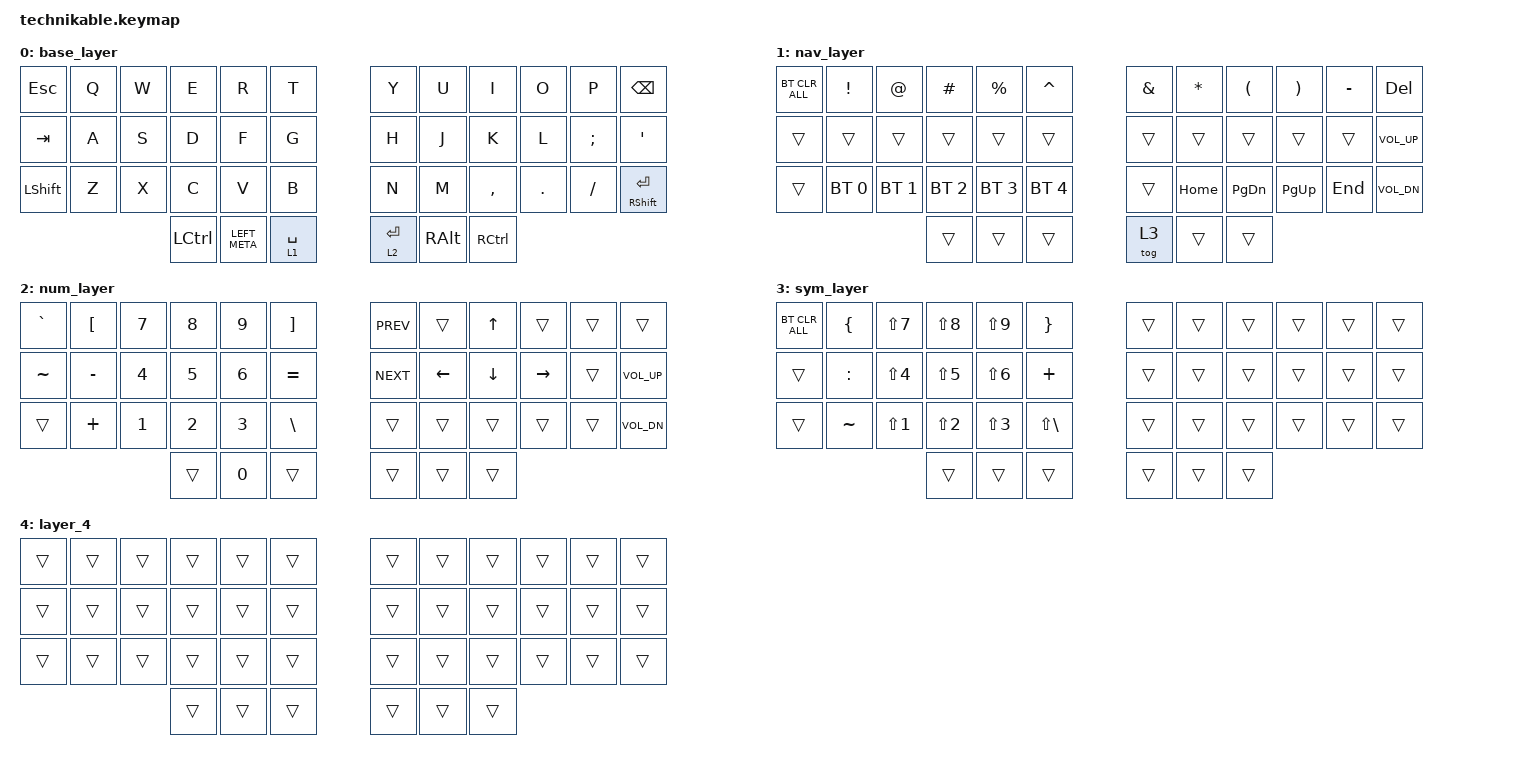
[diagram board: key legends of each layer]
/*
 * Copyright (c) 2022 Pete Johanson
 *
 * SPDX-License-Identifier: MIT
 */

#include <behaviors.dtsi>
#include <dt-bindings/zmk/bt.h>
#include <dt-bindings/zmk/keys.h>

#define BAS_L 0
#define NAV_L 1
#define NUM_L 2
#define SYM_L 3

// Using layer taps on thumbs, having quick tap as well helps w/ repeating space/backspace

&lt { quick_tap_ms = <200>; };

/ {
    chosen { zmk,matrix_transform = &dual_2u_transform; };

    conditional_layers {
        compatible = "zmk,conditional-layers";

        tri_layer {
            if-layers = <1 2>;
            then-layer = <3>;
        };
    };

    keymap {
        compatible = "zmk,keymap";

        base_layer {
            bindings = <
&kp ESC    &kp Q  &kp W      &kp E          &kp R        &kp T                &kp Y  &kp U     &kp I      &kp O    &kp P     &kp BACKSPACE
&kp TAB    &kp A  &kp S      &kp D          &kp F        &kp G                &kp H  &kp J     &kp K      &kp L    &kp SEMI  &kp SQT
&kp LSHFT  &kp Z  &kp X      &kp C          &kp V        &kp B                &kp N  &kp M     &kp COMMA  &kp DOT  &kp FSLH  &mt RIGHT_SHIFT ENTER
                  &kp LCTRL  &kp LEFT_META  &lt 1 SPACE         &lt 2 RETURN         &kp RALT  &kp RCTRL
            >;
        };

        nav_layer {
            bindings = <
&bt BT_CLR_ALL  &kp EXCL      &kp AT        &kp HASH      &kp PRCNT     &kp CARET             &kp AMPS  &kp STAR  &kp LPAR   &kp RPAR   &kp MINUS  &kp DEL
&trans          &trans        &trans        &trans        &trans        &trans                &trans    &trans    &trans     &trans     &trans     &kp C_VOLUME_UP
&trans          &bt BT_SEL 0  &bt BT_SEL 1  &bt BT_SEL 2  &bt BT_SEL 3  &bt BT_SEL 4          &trans    &kp HOME  &kp PG_DN  &kp PG_UP  &kp END    &kp C_VOL_DN
                              &trans        &trans        &trans                      &tog 3            &trans    &trans
            >;
        };

        num_layer {
            bindings = <
&kp GRAVE  &kp LBKT   &kp N7  &kp N8  &kp N9  &kp RBKT           &kp C_PREV  &trans          &kp UP_ARROW    &trans           &trans  &trans
&kp TILDE  &kp MINUS  &kp N4  &kp N5  &kp N6  &kp EQUAL          &kp C_NEXT  &kp LEFT_ARROW  &kp DOWN_ARROW  &kp RIGHT_ARROW  &trans  &kp C_VOLUME_UP
&trans     &kp PLUS   &kp N1  &kp N2  &kp N3  &kp BSLH           &trans      &trans          &trans          &trans           &trans  &kp C_VOL_DN
                      &trans  &kp N0  &trans             &trans              &trans          &trans
            >;
        };

        sym_layer {
            bindings = <
&bt BT_CLR_ALL  &kp LBRC   &kp LS(N7)  &kp LS(N8)  &kp LS(N9)  &kp RBRC              &trans  &trans  &trans  &trans  &trans  &trans
&trans          &kp COLON  &kp LS(N4)  &kp LS(N5)  &kp LS(N6)  &kp PLUS              &trans  &trans  &trans  &trans  &trans  &trans
&trans          &kp TILDE  &kp LS(N1)  &kp LS(N2)  &kp LS(N3)  &kp LS(BSLH)          &trans  &trans  &trans  &trans  &trans  &trans
                           &trans      &trans      &trans                    &trans          &trans  &trans
            >;
        };

        layer_4 {
            bindings = <
&trans  &trans  &trans  &trans  &trans  &trans          &trans  &trans  &trans  &trans  &trans  &trans
&trans  &trans  &trans  &trans  &trans  &trans          &trans  &trans  &trans  &trans  &trans  &trans
&trans  &trans  &trans  &trans  &trans  &trans          &trans  &trans  &trans  &trans  &trans  &trans
                &trans  &trans  &trans          &trans          &trans  &trans
            >;
        };
    };
};
